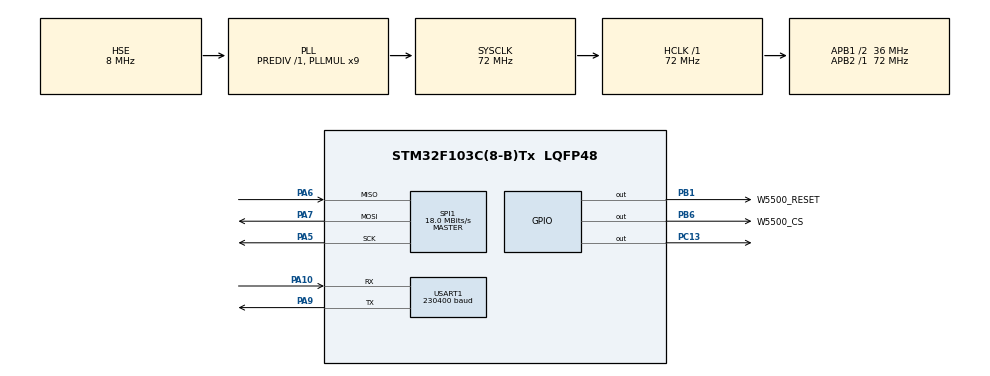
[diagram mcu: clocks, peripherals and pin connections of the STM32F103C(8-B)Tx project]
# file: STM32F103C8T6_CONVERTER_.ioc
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Dma.Request0=USART1_TX
Dma.USART1_TX.0.Direction=DMA_MEMORY_TO_PERIPH
Dma.USART1_TX.0.Instance=DMA1_Channel4
Dma.USART1_TX.0.MemDataAlignment=DMA_MDATAALIGN_BYTE
Dma.USART1_TX.0.MemInc=DMA_MINC_ENABLE
Dma.USART1_TX.0.Mode=DMA_NORMAL
Dma.USART1_TX.0.PeriphDataAlignment=DMA_PDATAALIGN_BYTE
Dma.USART1_TX.0.PeriphInc=DMA_PINC_DISABLE
Dma.USART1_TX.0.Priority=DMA_PRIORITY_LOW
Mcu.Family=STM32F1
Mcu.Name=STM32F103C(8-B)Tx
Mcu.Package=LQFP48
NVIC.DMA1_Channel4_IRQn=true\:0\:0\:false\:false\:true\:false\:true
NVIC.PriorityGroup=NVIC_PRIORITYGROUP_4
NVIC.USART1_IRQn=true\:0\:0\:false\:false\:true\:true\:true
PA10.Mode=Asynchronous
PA10.Signal=USART1_RX
PA13.Mode=Serial_Wire
PA13.Signal=SYS_JTMS-SWDIO
PA14.Mode=Serial_Wire
PA14.Signal=SYS_JTCK-SWCLK
PA5.Mode=Full_Duplex_Master
PA5.Signal=SPI1_SCK
PA6.Mode=Full_Duplex_Master
PA6.Signal=SPI1_MISO
PA7.Mode=Full_Duplex_Master
PA7.Signal=SPI1_MOSI
PA9.Mode=Asynchronous
PA9.Signal=USART1_TX
PB1.GPIO_Label=W5500_RESET
PB1.GPIO_Speed=GPIO_SPEED_FREQ_HIGH
PB1.Signal=GPIO_Output
PB6.GPIO_Label=W5500_CS
PB6.GPIO_Speed=GPIO_SPEED_FREQ_HIGH
PB6.Signal=GPIO_Output
PC13-TAMPER-RTC.GPIO_Speed=GPIO_SPEED_FREQ_LOW
PC13-TAMPER-RTC.Signal=GPIO_Output
PD0-OSC_IN.Mode=HSE-External-Oscillator
PD0-OSC_IN.Signal=RCC_OSC_IN
PD1-OSC_OUT.Mode=HSE-External-Oscillator
PD1-OSC_OUT.Signal=RCC_OSC_OUT
ProjectManager.HeapSize=0x200
ProjectManager.StackSize=0x400
ProjectManager.TargetToolchain=STM32CubeIDE
RCC.AHBFreq_Value=72000000
RCC.APB1CLKDivider=RCC_HCLK_DIV2
RCC.APB1Freq_Value=36000000
RCC.APB1TimFreq_Value=72000000
RCC.APB2Freq_Value=72000000
RCC.APB2TimFreq_Value=72000000
RCC.HCLKFreq_Value=72000000
RCC.PLLMUL=RCC_PLL_MUL9
RCC.PLLSourceVirtual=RCC_PLLSOURCE_HSE
RCC.SYSCLKFreq_VALUE=72000000
RCC.SYSCLKSource=RCC_SYSCLKSOURCE_PLLCLK
RCC.USBFreq_Value=72000000
SPI1.BaudRatePrescaler=SPI_BAUDRATEPRESCALER_4
SPI1.CalculateBaudRate=18.0 MBits/s
SPI1.Direction=SPI_DIRECTION_2LINES
SPI1.Mode=SPI_MODE_MASTER
SPI1.VirtualType=VM_MASTER
USART1.BaudRate=230400
USART1.VirtualMode=VM_ASYNC
board=custom

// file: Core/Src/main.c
/* USER CODE BEGIN Header */
/**
  ******************************************************************************
  * @file           : main.c
  * @brief          : Main program body
  ******************************************************************************
  * @attention
  *
  * Copyright (c) 2023 STMicroelectronics.
  * All rights reserved.
  *
  * This software is licensed under terms that can be found in the LICENSE file
  * in the root directory of this software component.
  * If no LICENSE file comes with this software, it is provided AS-IS.
  *
  ******************************************************************************
  */

#include "socket.h"
#include "w5500.h"
#include "net.h"
#include "loopback.h"
#include "my_function.h"

/* USER CODE END Header */
#include "main.h"

/* USER CODE BEGIN PTD */

#define DATA_BUF_SIZE   2048
#define SOCK_TCPS        0
#define SOCK_UDPS        1

#define delayUS_ASM(us) do {                           \
asm volatile ("MOV R0,%[loops]\n                       \
              1: \n                                    \
              SUB R0, #1\n                             \
              CMP R0, #0\n                             \
              BNE 1b \t"                               \
              : : [loops] "r" (8*us) : "memory"        \
              );                                       \
} while(0)
/* USER CODE END PTD */

SPI_HandleTypeDef hspi1;

UART_HandleTypeDef huart1;
DMA_HandleTypeDef hdma_usart1_tx;

/* USER CODE BEGIN PV */
extern uint8_t gDATABUF[DATA_BUF_SIZE];
/* USER CODE END PV */

void SystemClock_Config(void);
static void MX_GPIO_Init(void);
static void MX_SPI1_Init(void);
static void MX_DMA_Init(void);
static void MX_USART1_UART_Init(void);
/* USER CODE BEGIN PFP */
int32_t loopback_tcps(uint8_t, uint8_t*, uint16_t);
int32_t loopback_udps(uint8_t, uint8_t*, uint16_t);
/* USER CODE END PFP */

int main(void)
{
  /* USER CODE BEGIN 1 */
  int32_t ret = 0;
  /* USER CODE END 1 */

  /* MCU Configuration--------------------------------------------------------*/

  /* Reset of all peripherals, Initializes the Flash interface and the Systick. */
  HAL_Init();

  /* Configure the system clock */
  SystemClock_Config();

  /* Initialize all configured peripherals */
  MX_GPIO_Init();
  MX_SPI1_Init();
  MX_DMA_Init();
  MX_USART1_UART_Init();
  /* USER CODE BEGIN 2 */
//    net_ini();

    /* Chip selection call back */
     Chip_selection_call_back();
    /* SPI Read & Write callback function */
    reg_wizchip_spi_cbfunc(wizchip_read, wizchip_write);
    /* wizchip initialize*/
    wizchip_initialize();
    /* Network initialization */
    network_init();

  /* USER CODE END 2 */

  /* Infinite loop */
  /* USER CODE BEGIN WHILE */

//  const char data[20] = "data\r\n";
//    HAL_GPIO_WritePin(GPIOB, GPIO_PIN_6, GPIO_PIN_RESET);

  while (1)
  {
      //		/* Loopback Test */
      //    	// TCP server loopback test
      //    	if( (ret = loopback_tcps(SOCK_TCPS, gDATABUF, 5000)) < 0) {
      //			UART_Printf("SOCKET ERROR : %ld\r\n", ret);
      //		}

              // UDP server loopback test
              //if( (ret = loopback_udps(SOCK_UDPS, gDATABUF, 3000)) < 0) {
              if( (ret = loopback_udps(SOCK_UDPS, gDATABUF, 3000)) < 0) {
                  UART_Printf("SOCKET ERROR : %ld\r\n", ret);
              }

//      HAL_GPIO_WritePin(GPIOC, GPIO_PIN_13, GPIO_PIN_SET);
//      delayUS_ASM(400000);
//      HAL_GPIO_WritePin(GPIOC, GPIO_PIN_13, GPIO_PIN_RESET);
//      delayUS_ASM(400000);
//      net_poll();
    /* USER CODE END WHILE */

  }
}

void SystemClock_Config(void)
{
  RCC_OscInitTypeDef RCC_OscInitStruct = {0};
  RCC_ClkInitTypeDef RCC_ClkInitStruct = {0};

  /** Initializes the RCC Oscillators according to the specified parameters
  * in the RCC_OscInitTypeDef structure.
  */
  RCC_OscInitStruct.OscillatorType = RCC_OSCILLATORTYPE_HSE;
  RCC_OscInitStruct.HSEState = RCC_HSE_ON;
  RCC_OscInitStruct.HSEPredivValue = RCC_HSE_PREDIV_DIV1;
  RCC_OscInitStruct.HSIState = RCC_HSI_ON;
  RCC_OscInitStruct.PLL.PLLState = RCC_PLL_ON;
  RCC_OscInitStruct.PLL.PLLSource = RCC_PLLSOURCE_HSE;
  RCC_OscInitStruct.PLL.PLLMUL = RCC_PLL_MUL9;
  if (HAL_RCC_OscConfig(&RCC_OscInitStruct) != HAL_OK)
  {
    Error_Handler();
  }
  /** Initializes the CPU, AHB and APB buses clocks
  */
  RCC_ClkInitStruct.ClockType = RCC_CLOCKTYPE_HCLK|RCC_CLOCKTYPE_SYSCLK
                              |RCC_CLOCKTYPE_PCLK1|RCC_CLOCKTYPE_PCLK2;
  RCC_ClkInitStruct.SYSCLKSource = RCC_SYSCLKSOURCE_PLLCLK;
  RCC_ClkInitStruct.AHBCLKDivider = RCC_SYSCLK_DIV1;
  RCC_ClkInitStruct.APB1CLKDivider = RCC_HCLK_DIV2;
  RCC_ClkInitStruct.APB2CLKDivider = RCC_HCLK_DIV1;

  if (HAL_RCC_ClockConfig(&RCC_ClkInitStruct, FLASH_LATENCY_2) != HAL_OK)
  {
    Error_Handler();
  }
}

static void MX_SPI1_Init(void)
{

  /* SPI1 parameter configuration*/
  hspi1.Instance = SPI1;
  hspi1.Init.Mode = SPI_MODE_MASTER;
  hspi1.Init.Direction = SPI_DIRECTION_2LINES;
  hspi1.Init.DataSize = SPI_DATASIZE_8BIT;
  hspi1.Init.CLKPolarity = SPI_POLARITY_LOW;
  hspi1.Init.CLKPhase = SPI_PHASE_1EDGE;
  hspi1.Init.NSS = SPI_NSS_SOFT;
  hspi1.Init.BaudRatePrescaler = SPI_BAUDRATEPRESCALER_4;
  hspi1.Init.FirstBit = SPI_FIRSTBIT_MSB;
  hspi1.Init.TIMode = SPI_TIMODE_DISABLE;
  hspi1.Init.CRCCalculation = SPI_CRCCALCULATION_DISABLE;
  hspi1.Init.CRCPolynomial = 10;
  if (HAL_SPI_Init(&hspi1) != HAL_OK)
  {
    Error_Handler();
  }

}

static void MX_USART1_UART_Init(void)
{

  huart1.Instance = USART1;
  huart1.Init.BaudRate = 230400;
  huart1.Init.WordLength = UART_WORDLENGTH_8B;
  huart1.Init.StopBits = UART_STOPBITS_1;
  huart1.Init.Parity = UART_PARITY_NONE;
  huart1.Init.Mode = UART_MODE_TX_RX;
  huart1.Init.HwFlowCtl = UART_HWCONTROL_NONE;
  huart1.Init.OverSampling = UART_OVERSAMPLING_16;
  if (HAL_UART_Init(&huart1) != HAL_OK)
  {
    Error_Handler();
  }

}

static void MX_DMA_Init(void)
{

  /* DMA controller clock enable */
  __HAL_RCC_DMA1_CLK_ENABLE();

  /* DMA interrupt init */
  /* DMA1_Channel4_IRQn interrupt configuration */
  HAL_NVIC_SetPriority(DMA1_Channel4_IRQn, 0, 0);
  HAL_NVIC_EnableIRQ(DMA1_Channel4_IRQn);

}

static void MX_GPIO_Init(void)
{
  GPIO_InitTypeDef GPIO_InitStruct = {0};

  /* GPIO Ports Clock Enable */
  __HAL_RCC_GPIOC_CLK_ENABLE();
  __HAL_RCC_GPIOD_CLK_ENABLE();
  __HAL_RCC_GPIOA_CLK_ENABLE();
  __HAL_RCC_GPIOB_CLK_ENABLE();

  /*Configure GPIO pin Output Level */
  HAL_GPIO_WritePin(GPIOC, GPIO_PIN_13, GPIO_PIN_RESET);

  /*Configure GPIO pin Output Level */
  HAL_GPIO_WritePin(GPIOB, W5500_RESET_Pin|W5500_CS_Pin, GPIO_PIN_RESET);

  /*Configure GPIO pin : PC13 */
  GPIO_InitStruct.Pin = GPIO_PIN_13;
  GPIO_InitStruct.Mode = GPIO_MODE_OUTPUT_PP;
  GPIO_InitStruct.Pull = GPIO_NOPULL;
  GPIO_InitStruct.Speed = GPIO_SPEED_FREQ_LOW;
  HAL_GPIO_Init(GPIOC, &GPIO_InitStruct);

  /*Configure GPIO pins : W5500_RESET_Pin W5500_CS_Pin */
  GPIO_InitStruct.Pin = W5500_RESET_Pin|W5500_CS_Pin;
  GPIO_InitStruct.Mode = GPIO_MODE_OUTPUT_PP;
  GPIO_InitStruct.Pull = GPIO_NOPULL;
  GPIO_InitStruct.Speed = GPIO_SPEED_FREQ_HIGH;
  HAL_GPIO_Init(GPIOB, &GPIO_InitStruct);

}

/* USER CODE BEGIN 4 */
void  wizchip_select(void)
{
     HAL_GPIO_WritePin(GPIOB, GPIO_PIN_6, GPIO_PIN_RESET);
}

void  wizchip_deselect(void)
{
    HAL_GPIO_WritePin(GPIOB, GPIO_PIN_6, GPIO_PIN_SET);
}

void  wizchip_write(uint8_t wb)
{
//HAL_SPI_TransmitReceive(&hspi2, &wb, &wb, 1,1000);
HAL_SPI_Transmit(&hspi1, &wb, 1, 1000);
}

uint8_t wizchip_read()
{
uint8_t wb=0xFF;
HAL_SPI_TransmitReceive(&hspi1, &wb, &wb, 1,1000);
return	wb;
}
/* USER CODE END 4 */

void Error_Handler(void)
{
  __disable_irq();
  while (1)
  {
  }
}
